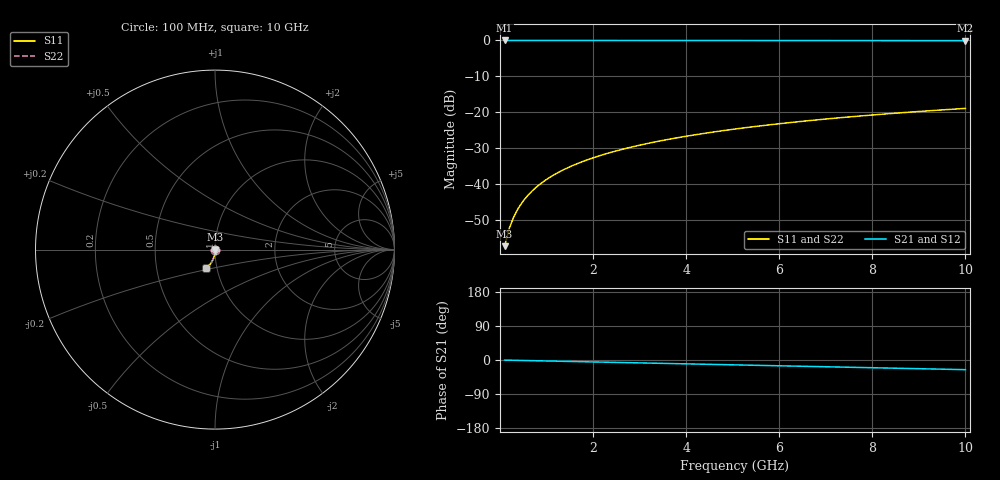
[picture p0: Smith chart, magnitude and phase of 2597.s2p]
# Hz S RI R 50.00
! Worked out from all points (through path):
!   100 points, 100 MHz to 10 GHz, reference 50 ohm
!   highest |S21| = -0.01 dB at 100 MHz (marker M1); lowest = -0.1 dB at 10 GHz (marker M2)
!   group delay of S21, straight-line fit = 7.09 ps
!   lowest |S11| = -57.2 dB at 100 MHz (marker M3), VSWR 1.00, Z = 50.1 - j0.117 ohm
!   |S11| at or under -10 dB: start of sweep to end of sweep
!   |S22| runs from -57.2 to -18.9 dB; largest |S21 - S12| = 0
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1e8  0.00074 -0.00117  0.9992 -0.00443  0.9992 -0.00443  0.00074 -0.00117
2e8  0.000726 -0.00234  0.9992 -0.00886  0.9992 -0.00886  0.000726 -0.00234
3e8  0.000702 -0.00351  0.9991 -0.0133  0.9991 -0.0133  0.000702 -0.00351
4e8  0.000666 -0.00468  0.9991 -0.0177  0.9991 -0.0177  0.000666 -0.00468
5e8  0.000619 -0.00585  0.999 -0.0222  0.999 -0.0222  0.000619 -0.00585
6e8  0.000562 -0.00702  0.9988 -0.0266  0.9988 -0.0266  0.000562 -0.00702
7e8  0.000494 -0.00819  0.9987 -0.031  0.9987 -0.031  0.000494 -0.00819
8e8  0.000415 -0.00936  0.9985 -0.0354  0.9985 -0.0354  0.000415 -0.00936
9e8  0.000326 -0.0105  0.9984 -0.0399  0.9984 -0.0399  0.000326 -0.0105
1.1e9  0.000117 -0.0129  0.9979 -0.0487  0.9979 -0.0487  0.000117 -0.0129
1.4e9  -0.000275 -0.0164  0.9971 -0.062  0.9971 -0.062  -0.000275 -0.0164
1.8e9  -0.000944 -0.021  0.9958 -0.0797  0.9958 -0.0797  -0.000944 -0.021
2.1e9  -0.00155 -0.0245  0.9945 -0.0929  0.9945 -0.0929  -0.00155 -0.0245
2.5e9  -0.00251 -0.0291  0.9926 -0.1106  0.9926 -0.1106  -0.00251 -0.0291
2.9e9  -0.00363 -0.0336  0.9903 -0.1282  0.9903 -0.1282  -0.00363 -0.0336
3.4e9  -0.00526 -0.0393  0.987 -0.1501  0.987 -0.1501  -0.00526 -0.0393
4.2e9  -0.00839 -0.0482  0.9806 -0.1851  0.9806 -0.1851  -0.00839 -0.0482
5.1e9  -0.0127 -0.0579  0.9718 -0.2241  0.9718 -0.2241  -0.0127 -0.0579
5.9e9  -0.0171 -0.0663  0.9626 -0.2584  0.9626 -0.2584  -0.0171 -0.0663
6.7e9  -0.0221 -0.0743  0.9521 -0.2924  0.9521 -0.2924  -0.0221 -0.0743
8.4e9  -0.0346 -0.09  0.9256 -0.3631  0.9256 -0.3631  -0.0346 -0.09
1e10  -0.0484 -0.1028  0.8956 -0.4274  0.8956 -0.4274  -0.0484 -0.1028
